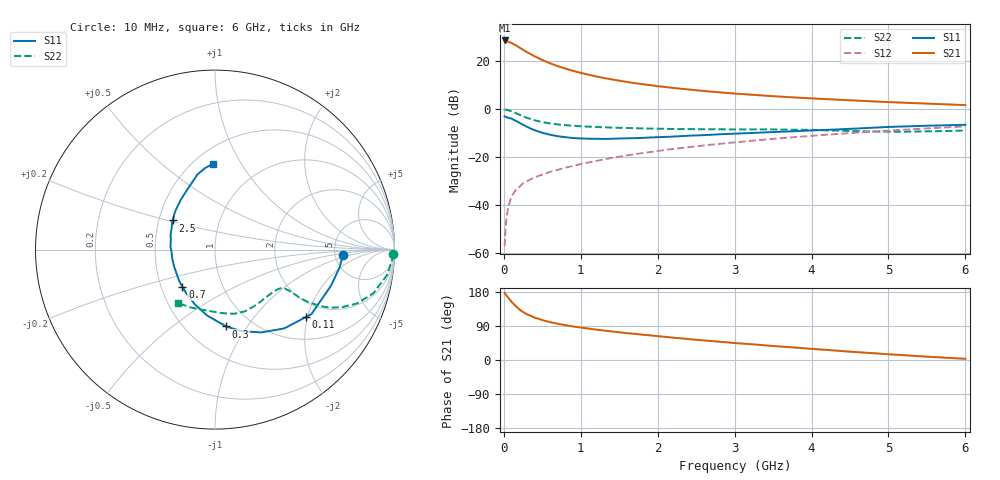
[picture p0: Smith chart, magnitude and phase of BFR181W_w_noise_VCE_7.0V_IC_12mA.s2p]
! Infineon Technologies  Discrete & RF Semiconductors
! BFR181W
! VCE =  7.0 V,  IC =  12 mA
! Common Emitter S-Parameters:  Jan 2017
# GHz  S  MA  R  50
!  f  S11  S21  S12  S22
! GHz  MAG  ANG  MAG  ANG  MAG  ANG  MAG  ANG
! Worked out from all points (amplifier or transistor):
!   77 points, 10 MHz to 6 GHz, reference 50 ohm
!   highest |S21| = 28.8 dB at 10 MHz (marker M1)
!   |S21| within 3 dB of that: start of sweep to 204.9 MHz
!   unconditionally stable (mu >= 1): 961.5 MHz to 2.914 GHz
!   at 130 MHz: K = 0.30, MSG = 31.0 dB, |S12| = -34.8 dB
!   at 2.2 GHz: K = 1.04, MAG = 11.4 dB, |S12| = -16.5 dB
!   at 6 GHz: K = 0.85, MSG = 4.4 dB, |S12| = -7.1 dB
!   lowest NFmin = 1.34 dB at 450 MHz
!   S11 on the Smith chart (normalised r, x): 10 MHz: 5.89, -0.75; 110 MHz: 1.57, -1.96; 300 MHz: 0.77, -0.81; 700 MHz: 0.64, -0.29; 2.5 GHz: 0.59, +0.21; 6 GHz: 0.62, +0.76
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0.01  0.7138 -2.5  27.43 177.1  0.0014 82.6  0.9912 -1.5
0.02  0.701 -8.2  27 173.7  0.0028 89.5  0.9894 -3.0
0.05  0.6768 -17.3  26.2 166.1  0.0079 80.8  0.9707 -8.2
0.1  0.6464 -33.8  24.3 153.5  0.015 77.0  0.9152 -15.4
0.11  0.6308 -36.5  23.78 151.5  0.0161 75.0  0.9007 -16.4
0.15  0.5844 -48.7  22.04 142.9  0.0204 69.2  0.8455 -20.8
0.2  0.529 -60.7  19.63 133.8  0.0241 66.8  0.7765 -24.4
0.25  0.4784 -72.0  17.55 126.5  0.0287 64.6  0.7171 -26.8
0.3  0.4326 -81.7  15.66 120.7  0.0318 63.3  0.6658 -28.2
0.4  0.3695 -97.0  12.81 111.8  0.0381 62.7  0.5925 -29.4
0.5  0.3257 -110.0  10.7 105.3  0.0436 63.6  0.5428 -29.6
0.6  0.2958 -121.3  9.175 100.0  0.0497 63.2  0.51 -29.3
0.7  0.2759 -131.2  7.994 95.7  0.0548 65.5  0.4855 -29.0
0.9  0.2523 -148.0  6.363 88.6  0.0662 66.5  0.4555 -29.1
1.1  0.2443 -161.6  5.295 83.0  0.0781 67.9  0.4368 -29.5
1.5  0.2475 177.6  3.969 73.2  0.103 68.6  0.4127 -32.4
2.1  0.2665 156.0  2.929 61.0  0.1425 67.6  0.3928 -40.3
2.5  0.2863 145.4  2.51 53.5  0.1696 66.1  0.386 -47.1
3.1  0.3159 132.1  2.089 43.4  0.2123 63.1  0.3821 -57.6
4.1  0.3682 114.8  1.665 28.0  0.2886 56.5  0.3689 -75.3
5.1  0.4353 101.8  1.399 13.9  0.3685 48.2  0.3422 -100.3
6  0.4771 91.6  1.229 3.1  0.4417 39.9  0.363 -125.1
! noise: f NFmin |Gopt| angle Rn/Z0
0.45  1.34  0.1  16  0.21
0.9  1.38  0.1  32  0.21
1.9  1.82  0.07  -151  0.21
2.4  2.01  0.08  -113  0.26
